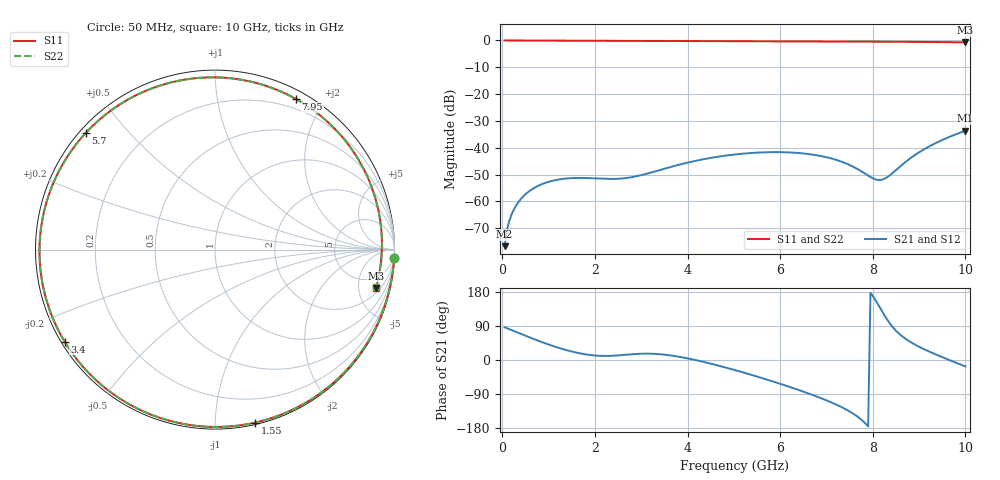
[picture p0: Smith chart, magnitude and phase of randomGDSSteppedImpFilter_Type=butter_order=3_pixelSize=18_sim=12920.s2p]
! freq	dB(S11)	phase(S11)	dB(S12)	phase(S12)
!  dB(S21)	phase(S21)	dB(S22)	phase(S22)
!S-par simulation data
#  GHz  S  DB  R 50
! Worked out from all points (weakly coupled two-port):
!   200 points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, 50 MHz to 10 GHz, reference 50 ohm
!   highest |S21| = -33.69 dB at 10 GHz (marker M1); lowest = -76.7 dB at 50 MHz (marker M2)
!   lowest |S11| = -0.7 dB at 10 GHz (marker M3), VSWR 24.58, Z = 134 - j380 ohm
!   |S11| at or under -10 dB: nowhere
!   |S22| runs from -0.7 to 0.0 dB; largest |S21 - S12| = 0
!   S11 on the Smith chart (normalised r, x): 50 MHz: 0, -45; 1.55 GHz: 0.01, -1.26; 3.4 GHz: 0.01, -0.28; 5.7 GHz: 0.02, +0.38; 7.95 GHz: 0.09, +1.67; 10 GHz: 2.68, -7.61
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0.05  -0.00 -2.6  -76.69 86.4  -76.69 86.4  -0.00 -2.6
0.1  -0.01 -5.2  -70.79 83.8  -70.79 83.8  -0.01 -5.2
0.2  -0.02 -10.4  -64.89 79.0  -64.89 79.0  -0.02 -10.4
0.3  -0.03 -15.7  -61.47 74.0  -61.47 74.0  -0.03 -15.7
0.45  -0.04 -23.5  -58.17 66.5  -58.17 66.5  -0.04 -23.5
0.9  -0.06 -46.3  -53.27 45.2  -53.27 45.2  -0.06 -46.3
1.2  -0.07 -60.8  -51.89 32.7  -51.89 32.7  -0.07 -60.8
1.55  -0.09 -77.0  -51.28 20.9  -51.28 20.9  -0.09 -77.0
1.75  -0.10 -85.8  -51.26 15.9  -51.26 15.9  -0.10 -85.8
2.5  -0.13 -116.3  -51.56 12.1  -51.56 12.1  -0.13 -116.2
3.4  -0.16 -148.5  -48.32 15.3  -48.32 15.3  -0.16 -148.5
4.2  -0.19 -174.8  -44.78 -0.9  -44.78 -0.9  -0.19 -174.7
5.05  -0.23 158.4  -42.45 -27.6  -42.45 -27.6  -0.23 158.5
5.7  -0.26 137.9  -41.68 -51.1  -41.68 -51.1  -0.26 138.0
6.7  -0.33 105.3  -42.55 -92.3  -42.55 -92.3  -0.33 105.4
7.35  -0.37 83.1  -45.35 -125.8  -45.35 -125.8  -0.37 83.2
7.95  -0.42 61.8  -50.89 177.2  -50.89 177.2  -0.42 61.9
8.15  -0.44 54.5  -52.03 139.3  -52.03 139.3  -0.44 54.7
8.35  -0.46 47.2  -50.51 99.6  -50.51 99.6  -0.46 47.4
8.8  -0.51 30.7  -44.06 48.6  -44.06 48.6  -0.51 30.8
9.2  -0.56 15.9  -39.68 23.3  -39.68 23.3  -0.56 16.0
10  -0.71 -13.4  -33.69 -17.0  -33.69 -17.0  -0.71 -13.2
